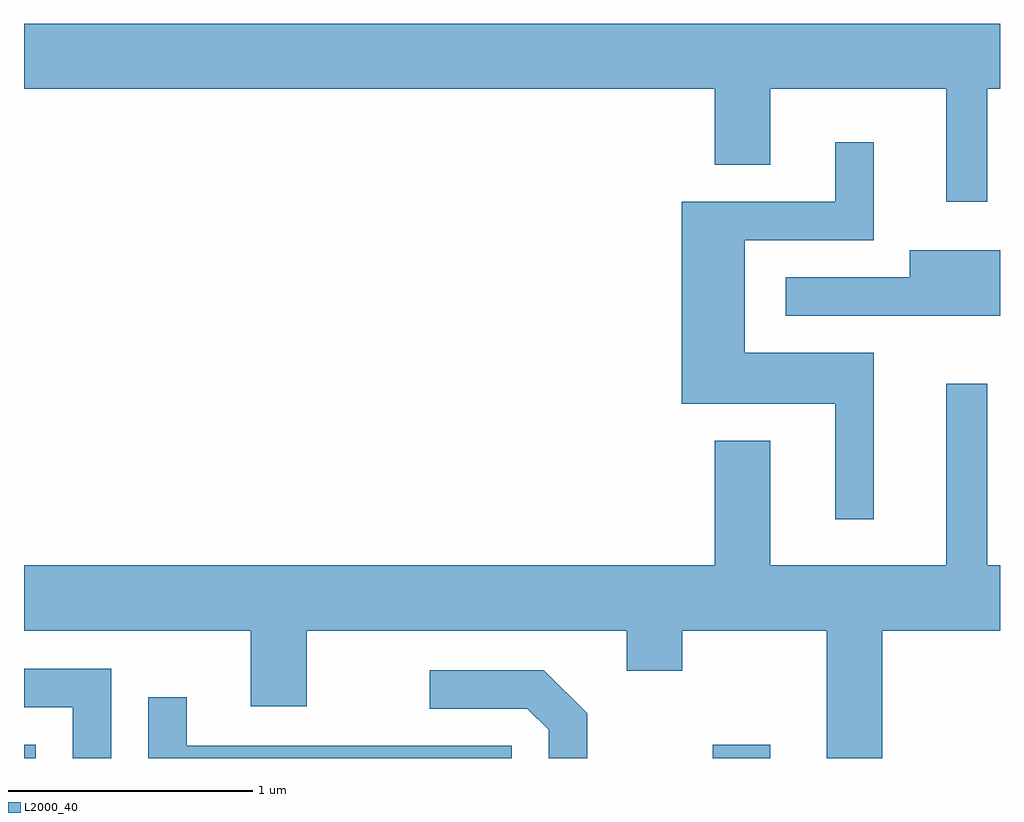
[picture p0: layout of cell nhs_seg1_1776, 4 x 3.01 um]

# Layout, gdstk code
import gdstk
lib = gdstk.Library(unit=1e-6, precision=1e-09)
def R(c, l, rs):  # rectangles x0, y0, x1, y1
    for r in rs: c.add(gdstk.rectangle(r[:2], r[2:], *l))
def P(c, l, *ps):  # polygons
    for p in ps: c.add(gdstk.Polygon(p, *l))
L2000_40 = (2000, 40)

nhs_seg1_1776 = lib.new_cell('nhs_seg1_1776')
R(nhs_seg1_1776, L2000_40, [(239.611,905.712,239.659,905.769), (242.433,905.712,242.669,905.769)])
P(nhs_seg1_1776, L2000_40, [(243.559,908.456),(243.611,908.456),(243.611,908.724),(239.611,908.724),(239.611,908.456),(242.441,908.456),(242.441,908.146),(242.669,908.146),(242.669,908.456),(243.391,908.456),(243.391,907.993),(243.559,907.993)],
  [(243.094,907.374),(242.564,907.374),(242.564,907.836),(243.094,907.836),(243.094,908.238),(242.936,908.238),(242.936,907.994),(242.306,907.994),(242.306,907.166),(242.936,907.166),(242.936,906.693),(243.094,906.693)],
  [(243.611,907.794),(243.241,907.794),(243.241,907.684),(242.733,907.684),(242.733,907.526),(243.611,907.526)],
  [(243.129,906.236),(243.611,906.236),(243.611,906.504),(243.559,906.504),(243.559,907.248),(243.391,907.248),(243.391,906.504),(242.669,906.504),(242.669,907.014),(242.441,907.014),(242.441,906.504),(239.611,906.504),(239.611,906.236),(240.541,906.236),(240.541,905.926),(240.769,905.926),(240.769,906.236),(242.081,906.236),(242.081,906.071),(242.309,906.071),(242.309,906.236),(242.901,906.236),(242.901,905.712),(243.129,905.712)],
  [(239.969,906.079),(239.611,906.079),(239.611,905.921),(239.811,905.921),(239.811,905.712),(239.969,905.712)],
  [(241.919,905.897),(241.742,906.074),(241.273,906.074),(241.273,905.916),(241.674,905.916),(241.761,905.829),(241.761,905.712),(241.919,905.712)],
  [(241.609,905.764),(240.279,905.764),(240.279,905.963),(240.121,905.963),(240.121,905.712),(241.609,905.712)])

lib.write_gds('nhs_seg1_1776.gds')
